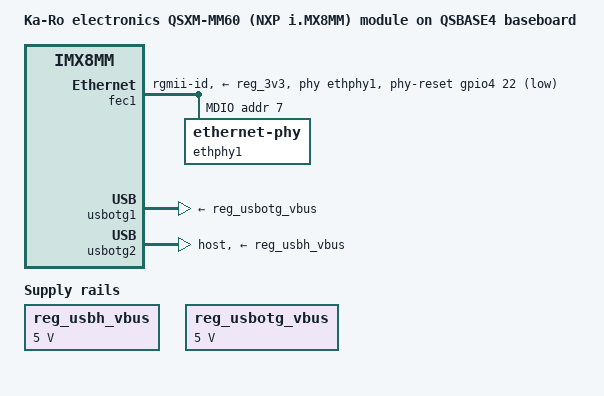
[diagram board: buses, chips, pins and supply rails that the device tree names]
// SPDX-License-Identifier: (GPL-2.0 OR MIT)
/*
 * Copyright (C) 2022 Lothar Waßmann <LW@KARO-electronics.de>
 *
 */

/dts-v1/;

#include "imx8mm-qsxm-mm60.dts"

/ {
	model = "Ka-Ro electronics QSXM-MM60 (NXP i.MX8MM) module on QSBASE4 baseboard";

	reg_usbh_vbus: regulator-usbh-vbus {
		compatible = "regulator-fixed";
		regulator-name = "usbh-vbus";
		regulator-min-microvolt = <5000000>;
		regulator-max-microvolt = <5000000>;
	};

	reg_usbotg_vbus: regulator-usbotg-vbus {
		compatible = "regulator-fixed";
		regulator-name = "usbotg-vbus";
		regulator-min-microvolt = <5000000>;
		regulator-max-microvolt = <5000000>;
	};
};

&fec1 {
	pinctrl-names = "default", "sleep";
	pinctrl-0 = <&pinctrl_fec1_b &pinctrl_etnphy_rst_b>;
	pinctrl-1 = <&pinctrl_fec1_b_sleep>;
	phy-mode = "rgmii-id";
	phy-handle = <&ethphy1>;
	phy-supply = <&reg_3v3>;
	phy-reset-gpios = <&gpio4 22 GPIO_ACTIVE_LOW>;
	phy-reset-duration = <25>;
	phy-reset-post-delay = <100>;
	status = "okay";

	mdio {
		#address-cells = <1>;
		#size-cells = <0>;

		ethphy1: ethernet-phy@7 {
			reg = <7>;
		};
	};
};

&usdhc2 {
	status = "disabled";
};

&usbotg1 {
	vbus-supply = <&reg_usbotg_vbus>;
};

&usbotg2 {
	dr_mode = "host";
	vbus-supply = <&reg_usbh_vbus>;
	status = "okay";
};

&iomuxc {
	pinctrl_etnphy_int_b: etnphy-int-bgrp {
		fsl,pins = <
			    MX8MM_IOMUXC_GPIO1_IO10_GPIO1_IO10		0x90
		>;
	};

	pinctrl_etnphy_rst_b: etnphy-rst-bgrp {
		fsl,pins = <
			    MX8MM_IOMUXC_SAI2_RXC_GPIO4_IO22		0x140
		>;
	};

	pinctrl_fec1_b: fec1-bgrp {
		fsl,pins = <
			    MX8MM_IOMUXC_ENET_MDC_ENET1_MDC		0x142
			    MX8MM_IOMUXC_ENET_MDIO_ENET1_MDIO		0x142
			    MX8MM_IOMUXC_ENET_TXC_ENET1_RGMII_TXC	0x010
			    MX8MM_IOMUXC_ENET_TD0_ENET1_RGMII_TD0	0x016
			    MX8MM_IOMUXC_ENET_TD1_ENET1_RGMII_TD1	0x016
			    MX8MM_IOMUXC_ENET_TD2_ENET1_RGMII_TD2	0x016
			    MX8MM_IOMUXC_ENET_TD3_ENET1_RGMII_TD3	0x016
			    MX8MM_IOMUXC_ENET_TX_CTL_ENET1_RGMII_TX_CTL	0x016
			    MX8MM_IOMUXC_ENET_RD0_ENET1_RGMII_RD0	0x110 /* MODE0 */
			    MX8MM_IOMUXC_ENET_RD1_ENET1_RGMII_RD1	0x150 /* MODE1 */
			    MX8MM_IOMUXC_ENET_RD2_ENET1_RGMII_RD2	0x150 /* MODE2 */
			    MX8MM_IOMUXC_ENET_RD3_ENET1_RGMII_RD3	0x150 /* MODE3 */
			    MX8MM_IOMUXC_ENET_RXC_ENET1_RGMII_RXC	0x156 /* PHYAD2 */
			    MX8MM_IOMUXC_ENET_RX_CTL_ENET1_RGMII_RX_CTL	0x156 /* CLK125_EN */
			    MX8MM_IOMUXC_GPIO1_IO00_GPIO1_IO0		0x110 /* LED_MODE */
		>;
	};

	pinctrl_fec1_b_sleep: fec1-b-sleep-grp {
		fsl,pins = <
			    MX8MM_IOMUXC_GPIO1_IO00_GPIO1_IO0		0x120
			    MX8MM_IOMUXC_ENET_MDC_GPIO1_IO16		0x120
			    MX8MM_IOMUXC_ENET_MDIO_GPIO1_IO17		0x120
			    MX8MM_IOMUXC_ENET_TXC_GPIO1_IO23		0x120
			    MX8MM_IOMUXC_ENET_TD0_GPIO1_IO21		0x120
			    MX8MM_IOMUXC_ENET_TD1_GPIO1_IO20		0x120
			    MX8MM_IOMUXC_ENET_TD2_GPIO1_IO19		0x120
			    MX8MM_IOMUXC_ENET_TD3_GPIO1_IO18		0x120
			    MX8MM_IOMUXC_ENET_RD0_GPIO1_IO26		0x120
			    MX8MM_IOMUXC_ENET_RD1_GPIO1_IO27		0x120
			    MX8MM_IOMUXC_ENET_RD2_GPIO1_IO28		0x120
			    MX8MM_IOMUXC_ENET_RD3_GPIO1_IO29		0x120
			    MX8MM_IOMUXC_ENET_RXC_GPIO1_IO25		0x120
			    MX8MM_IOMUXC_ENET_RX_CTL_GPIO1_IO24		0x120
			    MX8MM_IOMUXC_ENET_TX_CTL_GPIO1_IO22		0x120
		>;
	};
};
